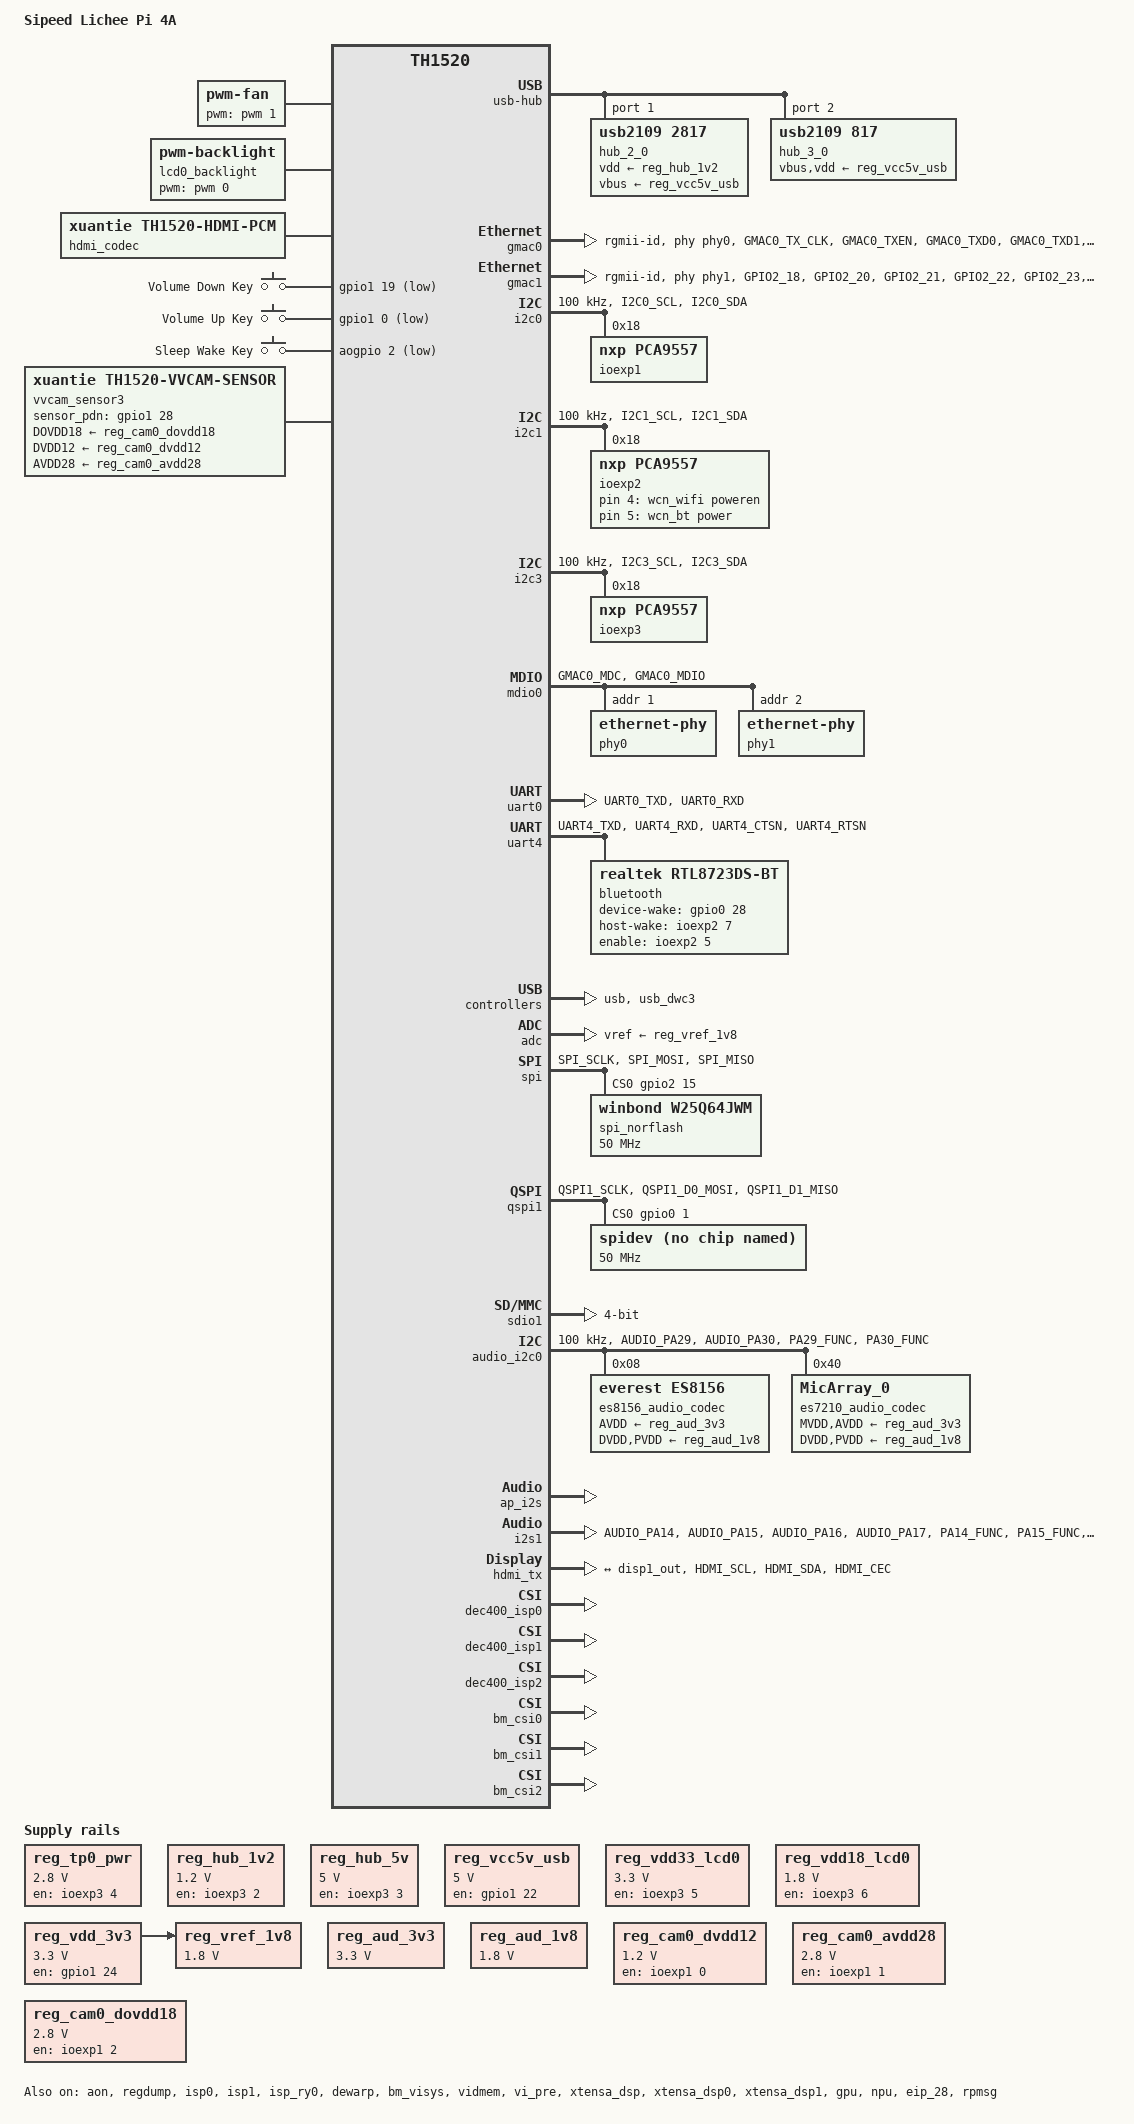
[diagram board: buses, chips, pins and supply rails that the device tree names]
// SPDX-License-Identifier: (GPL-2.0 OR MIT)
/*
 * Copyright (C) 2023 Jisheng Zhang <jszhang@kernel.org>
 */

#include "th1520-lichee-module-4a.dtsi"
#include <dt-bindings/gpio/gpio.h>
#include <dt-bindings/input/linux-event-codes.h>

/ {
	model = "Sipeed Lichee Pi 4A";
	compatible = "sipeed,lichee-pi-4a", "sipeed,lichee-module-4a", "thead,th1520";

	aliases {
		vivcam3 = &vvcam_sensor3;
		viv_video2 =  &video2;
		viv_video3 =  &video3;
	};

	chosen {
		stdout-path = "serial0:115200n8";
	};

	fan: pwm-fan {
		pinctrl-names = "default";
		pinctrl-0 = <&fan_pins>;
		compatible = "pwm-fan";
		#cooling-cells = <2>;
		pwms = <&pwm 1 10000000 0>;
		cooling-levels = <0 66 196 255>;
	};

	lcd0_backlight: pwm-backlight@0 {
		compatible = "pwm-backlight";
		pwms = <&pwm 0 5000000 0>;
		brightness-levels = <0 4 8 16 32 64 128 255>;
		default-brightness-level = <7>;
	};

	th1520_iopmp: iopmp {
		compatible = "xuantie,th1520-iopmp";

		/* config#1: multiple valid regions */
		iopmp_emmc: IOPMP_EMMC {
			attr = <0xFFFFFFFF>;
			is_default_region;
		};

		/* config#2: iopmp bypass */
		iopmp_sdio0: IOPMP_SDIO0 {
			bypass_en;
		};

		/* config#3: iopmp default region set */
		iopmp_sdio1: IOPMP_SDIO1 {
			attr = <0xFFFFFFFF>;
			is_default_region;
		};

		iopmp_usb0: IOPMP_USB0 {
			attr = <0xFFFFFFFF>;
			is_default_region;
		};

		iopmp_ao: IOPMP_AO {
			is_default_region;
		};

		iopmp_aud: IOPMP_AUD {
			is_default_region;
		};

		iopmp_chip_dbg: IOPMP_CHIP_DBG {
			is_default_region;
		};

		iopmp_eip120i: IOPMP_EIP120I {
			is_default_region;
		};

		iopmp_eip120ii: IOPMP_EIP120II {
			is_default_region;
		};

		iopmp_eip120iii: IOPMP_EIP120III {
			is_default_region;
		};

		iopmp_isp0: IOPMP_ISP0 {
			is_default_region;
		};

		iopmp_isp1: IOPMP_ISP1 {
			is_default_region;
		};

		iopmp_dw200: IOPMP_DW200 {
			is_default_region;
		};

		iopmp_vipre: IOPMP_VIPRE {
			is_default_region;
		};

		iopmp_venc: IOPMP_VENC {
			is_default_region;
		};

		iopmp_vdec: IOPMP_VDEC {
			is_default_region;
		};

		iopmp_g2d: IOPMP_G2D {
			is_default_region;
		};

		iopmp_fce: IOPMP_FCE {
			is_default_region;
		};

		iopmp_npu: IOPMP_NPU {
			is_default_region;
		};

		iopmp0_dpu: IOPMP0_DPU {
			bypass_en;
		};

		iopmp1_dpu: IOPMP1_DPU {
			bypass_en;
		};

		iopmp_gpu: IOPMP_GPU {
			is_default_region;
		};

		iopmp_gmac1: IOPMP_GMAC1 {
			is_default_region;
		};

		iopmp_gmac2: IOPMP_GMAC2 {
			is_default_region;
		};

		iopmp_dmac: IOPMP_DMAC {
			is_default_region;
		};

		iopmp_tee_dmac: IOPMP_TEE_DMAC {
			is_default_region;
		};

		iopmp_dsp0: IOPMP_DSP0 {
			is_default_region;
		};

		iopmp_dsp1: IOPMP_DSP1 {
			is_default_region;
		};

		iopmp_audio0: IOPMP_AUDIO0 {
			is_default_region;
		};

		iopmp_audio1: IOPMP_AUDIO1 {
			is_default_region;
		};
	};

	reg_tp0_pwr: regulator-tp0-pwr {
		compatible = "regulator-fixed";
		regulator-name = "tp0-pwr";
		regulator-min-microvolt = <2800000>;
		regulator-max-microvolt = <2800000>;
		gpio = <&ioexp3 4 GPIO_ACTIVE_HIGH>;
		enable-active-high;
		regulator-always-on;
	};

	reg_hub_1v2: regulator-hub-1v2 {
		compatible = "regulator-fixed";
		regulator-name = "HUB_1V2";
		regulator-min-microvolt = <1200000>;
		regulator-max-microvolt = <1200000>;
		gpio = <&ioexp3 2 GPIO_ACTIVE_HIGH>;
		enable-active-high;
		regulator-always-on;
	};

	reg_hub_5v: regulator-hub-5v {
		compatible = "regulator-fixed";
		regulator-name = "HUB_5V";
		regulator-min-microvolt = <5000000>;
		regulator-max-microvolt = <5000000>;
		gpio = <&ioexp3 3 GPIO_ACTIVE_HIGH>;
		enable-active-high;
		regulator-always-on;
	};

	reg_vcc5v_usb: regulator-vcc5v-usb {
		compatible = "regulator-fixed";
		regulator-name = "VCC5V_USB";
		regulator-min-microvolt = <5000000>;
		regulator-max-microvolt = <5000000>;
		gpio = <&gpio1 22 GPIO_ACTIVE_HIGH>;
		enable-active-high;
		regulator-always-on;
	};

	reg_vdd33_lcd0: regulator-vdd33-lcd0 {
		compatible = "regulator-fixed";
		regulator-name = "lcd0_vdd33";
		regulator-min-microvolt = <3300000>;
		regulator-max-microvolt = <3300000>;
		gpio = <&ioexp3 5 GPIO_ACTIVE_HIGH>;
		enable-active-high;
	};

	reg_vdd18_lcd0: regulator-vdd18-lcd0 {
		compatible = "regulator-fixed";
		regulator-name = "lcd0_vdd18";
		regulator-min-microvolt = <1800000>;
		regulator-max-microvolt = <1800000>;
		gpio = <&ioexp3 6 GPIO_ACTIVE_HIGH>;
		enable-active-high;
	};

	reg_vdd_3v3: regulator-vdd-3v3 {
		compatible = "regulator-fixed";
		regulator-name = "vdd_3v3";
		regulator-min-microvolt = <3300000>;
		regulator-max-microvolt = <3300000>;
		gpio = <&gpio1 24 GPIO_ACTIVE_HIGH>;
		enable-active-high;
		regulator-boot-on;
		regulator-always-on;
	};

	reg_vref_1v8: regulator-adc-verf {
		compatible = "regulator-fixed";
		regulator-name = "vref-1v8";
		regulator-min-microvolt = <1800000>;
		regulator-max-microvolt = <1800000>;
		regulator-alaways-on;
		vin-supply = <&reg_vdd_3v3>;
	};

	reg_aud_3v3: regulator-aud-3v3 {
		compatible = "regulator-fixed";
		regulator-name = "aud_3v3";
		regulator-min-microvolt = <3300000>;
		regulator-max-microvolt = <3300000>;
		enable-active-high;
		regulator-always-on;
	};

	reg_aud_1v8: regulator-aud-1v8 {
		compatible = "regulator-fixed";
		regulator-name = "aud_1v8";
		regulator-min-microvolt = <1800000>;
		regulator-max-microvolt = <1800000>;
		enable-active-high;
		regulator-always-on;
	};

	reg_cam0_dvdd12: regulator-cam0-dvdd12 {
		compatible = "regulator-fixed";
		regulator-name = "dvdd12_cam0";
		regulator-min-microvolt = <1200000>;
		regulator-max-microvolt = <1200000>;
		gpio = <&ioexp1 0 GPIO_ACTIVE_HIGH>;
		enable-active-high;
	};

	reg_cam0_avdd28: regulator-cam0-avdd28 {
		compatible = "regulator-fixed";
		regulator-name = "avdd28_cam0";
		regulator-min-microvolt = <2800000>;
		regulator-max-microvolt = <2800000>;
		gpio = <&ioexp1 1 GPIO_ACTIVE_HIGH>;
		enable-active-high;
	};

	reg_cam0_dovdd18: regulator-cam0-dovdd18 {
		compatible = "regulator-fixed";
		regulator-name = "dovdd18_cam0";
		regulator-min-microvolt = <2800000>;
		regulator-max-microvolt = <2800000>;
		gpio = <&ioexp1 2 GPIO_ACTIVE_HIGH>;
		enable-active-high;
	};

	mbox_910t_client2: mbox_910t_client2 {
		compatible = "xuantie,th1520-mbox-client";
		mbox-names = "906";
		mboxes = <&mbox_910t 2 0>;
		audio-mbox-regmap = <&audio_mbox>;
		status = "okay";
	};

	th1520_rpmsg: th1520_rpmsg {
		compatible = "th1520,rpmsg-bus", "simple-bus";
		memory-region = <&rpmsgmem>;
		#address-cells = <2>;
		#size-cells = <2>;
		ranges;
		rpmsg: rpmsg{
			vdev-nums = <1>;
            reg = <0x0 0x1E000000 0 0x10000>;
			compatible = "th1520,th1520-rpmsg";
			log-memory-region = <&audio_log_mem>;
			audio-text-memory-region = <&audio_text_mem>;
			status = "okay";
		};
	};

	hdmi_codec: hdmi_codec@1 {
		#sound-dai-cells = <0>;
		compatible = "xuantie,th1520-hdmi-pcm";
		status = "okay";
		sound-name-prefix = "DUMMY";
	};

	th1520_sound: soundcard@1 {
		compatible = "simple-audio-card";
		simple-audio-card,name = "TH1520-Sound-Card";
		#address-cells = <1>;
		#size-cells = <0>;

		simple-audio-card,dai-link@0 {
			reg = <0>;
			format = "i2s";
			cpu {
				sound-dai = <&ap_i2s 1>;
			};
			codec {
				sound-dai = <&hdmi_codec>;
			};
		};
		simple-audio-card,dai-link@1 {
			reg = <1>;
			format = "i2s";
			cpu {
				sound-dai = <&i2s1 0>;
			};
			codec {
				sound-dai = <&es7210_audio_codec>;
			};
		};
		simple-audio-card,dai-link@2 {
			reg = <2>;
			format = "i2s";
			cpu {
				sound-dai = <&i2s1 0>;
			};
			codec {
				sound-dai = <&es8156_audio_codec>;
			};
		};
	};

	usb-hub {
		status = "okay";
		#address-cells = <1>;
		#size-cells = <0>;

		hub_2_0: hub@1 {
			compatible = "usb2109,2817";
			reg = <1>;
			peer-hub = <&hub_3_0>;
			vdd-supply = <&reg_hub_1v2>;
			vbus-supply = <&reg_vcc5v_usb>;
		};

		hub_3_0: hub@2 {
			compatible = "usb2109,817";
			reg = <2>;
			peer-hub = <&hub_2_0>;
			vbus-supply = <&reg_vcc5v_usb>;
			vdd-supply  = <&reg_vcc5v_usb>;
		};
	};

	wcn_wifi: wireless-wlan {
		compatible = "wlan-platdata";
		pinctrl-names = "default";
		pinctrl-0 = <&pinctrl_wifi_wake>;
		WIFI,poweren-gpios = <&ioexp2 4 0>;
		power_on_after_init;
		power_on_when_resume;
		status = "okay";
	};

	wcn_bt: wireless-bluetooth {
		compatible = "bluetooth-platdata";
		pinctrl-names = "default";
		pinctrl-0 = <&pinctrl_bt_wake>;
		BT,power-gpios    = <&ioexp2 5 0>;
		status = "okay";
	};

	gpio-keys {
		compatible = "gpio-keys";
		key-volumedown {
			label = "Volume Down Key";
			linux,code = <KEY_VOLUMEDOWN>;
			debounce-interval = <1>;
			gpios = <&gpio1 19 GPIO_ACTIVE_LOW>;
		};
		key-volumeup {
			label = "Volume Up Key";
			linux,code = <KEY_VOLUMEUP>;
			debounce-interval = <1>;
			gpios = <&gpio1 0 GPIO_ACTIVE_LOW>;
		};
		key-sleep {
			label = "Sleep Wake Key";
			wakeup-source;
			linux,code = <KEY_SLEEP>;
			debounce-interval = <1>;
			gpios = <&aogpio 2 GPIO_ACTIVE_LOW>;
		};
	};

	thermal-zones {
		cpu-thermal {
			sustainable-power = <1600>;

			trips {
				trip_active0: active-0 {
					temperature = <39000>;
					hysteresis = <5000>;
					type = "active";
				};

				trip_active1: active-1 {
					temperature = <50000>;
					hysteresis = <5000>;
					type = "active";
				};

				trip_active2: active-2 {
					temperature = <60000>;
					hysteresis = <5000>;
					type = "active";
				};
			};

			cooling-maps {
				map-active-0 {
					cooling-device = <&fan 1 1>;
					trip = <&trip_active0>;
				};

				map-active-1 {
					cooling-device = <&fan 2 2>;
					trip = <&trip_active1>;
				};

				map-active-2 {
					cooling-device = <&fan 3 3>;
					trip = <&trip_active2>;
				};
			};
		};

		dev-thermal {
			sustainable-power = <3000>;
		};
	};

	soc {
		compatible = "simple-bus";
		interrupt-parent = <&plic>;
		#address-cells = <2>;
		#size-cells = <2>;
		dma-noncoherent;
		ranges;


		vvcam_sensor3: vvcam_sensor@3 {//cam3 csi0 modified
			sensor_name = "OV5693";
			compatible = "xuantie,th1520-vvcam-sensor";
			sensor_pdn = <&gpio1 28 0>; //powerdown pin / shutdown pin
			sensor_rst = <&ioexp2 1 0>;
			sensor_pdn_delay_us = <4000>; //powerdown pin / shutdown pin activated till I2C ready
			sensor_regulators = "DOVDD18", "DVDD12", "AVDD28";
			sensor_regulator_timing_us = <70 50 20>;
			DOVDD18-supply = <&reg_cam0_dovdd18>;
			DVDD12-supply = <&reg_cam0_dvdd12>;
			AVDD28-supply = <&reg_cam0_avdd28>;
			i2c_reg_width = /bits/ 8 <2>;
			i2c_data_width = /bits/ 8 <1>;
			i2c_addr = /bits/ 8 <0x36>;
			i2c_bus = /bits/ 8 <0>;
			status = "okay";
		};

		video2: cam_dev@300 {
			compatible = "xuantie,th1520-video";
			vi_mem_pool_region = <0>;	// vi_mem: framebuffer, region[0]
			status = "okay";
			channel0 {
				channel_id = <0>;
				status = "okay";
				sensor1 {
					subdev_name = "vivcam";
					idx = <3>;
					csi_idx = <0>;
					mode_idx = <1>;
					path_type = "SENSOR_2592x1944_LINER";
				};
				dma {
					subdev_name = "vipre";
					idx = <0>;
					path_type = "VIPRE_CSI0_ISP1";
				};
				isp {
					subdev_name = "isp";
					idx = <1>;
					path_type = "ISP_MI_PATH_MP";
					output {
						max_width = <2600>;
						max_height = <2000>;
						bit_per_pixel = <12>;
						frame_count = <3>;
					};
				};
			};
			channel1 {
				sensor1 {
					subdev_name = "vivcam";
					idx = <3>;
					csi_idx = <0>;
					mode_idx = <1>;
					path_type = "SENSOR_2592x1944_LINER";
				};
				dma {
					subdev_name = "vipre";
					idx = <0>;
					path_type = "VIPRE_CSI0_ISP1";
				};
				isp {
					subdev_name = "isp";
					idx = <1>;
					path_type = "ISP_MI_PATH_SP";
					output {
						max_width = <2600>;
						max_height = <2000>;
						bit_per_pixel = <12>;
						frame_count = <3>;
					};
				};
			};
			channel2 {
				sensor1 {
					subdev_name = "vivcam";
					idx = <3>;
					csi_idx = <0>;
					mode_idx = <1>;
					path_type = "SENSOR_2592x1944_LINER";
				};
				dma {
					subdev_name = "vipre";
					idx = <0>;
					path_type = "VIPRE_CSI0_ISP1";
				};
				isp {
					subdev_name = "isp";
					idx = <1>;
					path_type = "ISP_MI_PATH_SP2_BP";
					output {
						max_width = <2600>;
						max_height = <2000>;
						bit_per_pixel = <12>;
						frame_count = <3>;
					};
				};
			};
		};

		video3: cam_dev@400{
			compatible = "xuantie,th1520-video";
			vi_mem_pool_region = <0>;	// vi_mem: framebuffer, region[0]
			status = "okay";
			channel0 {
				sensor1 {
					subdev_name = "vivcam";
					idx = <3>;
					csi_idx = <0>;
					mode_idx = <1>;
					path_type = "SENSOR_2592x1944_LINER";
				};
				dma {
					subdev_name = "vipre";
					idx = <0>;
					path_type = "VIPRE_CSI0_ISP1";

				};
				isp {
					subdev_name = "isp";
					idx = <1>;
					path_type = "ISP_MI_PATH_MP";
					output {
						max_width = <2600>;
						max_height = <2000>;
						bit_per_pixel = <12>;
						frame_count = <3>;
					};
				};
				dw {
					subdev_name = "dw";
					idx = <0>;
					path_type = "DW_DWE_VSE0";
					dw_dst_depth = <2>;
				};
			};
			channel1 {
				sensor1 {
					subdev_name = "vivcam";
					idx = <3>;
					csi_idx = <0>;
					mode_idx = <1>;
					path_type = "SENSOR_2592x1944_LINER";
				};
				dma {
					subdev_name = "vipre";
					idx = <0>;
					path_type = "VIPRE_CSI0_ISP1";

				};
				isp {
					subdev_name = "isp";
					idx = <1>;
					path_type = "ISP_MI_PATH_MP";
					output {
						max_width = <2600>;
						max_height = <2000>;
						bit_per_pixel = <12>;
						frame_count = <3>;
					};
				};
				dw {
					subdev_name = "dw";
					idx = <0>;
					path_type = "DW_DWE_VSE1";
					dw_dst_depth = <2>;
				};
			};
			channel2 {
				sensor1 {
					subdev_name = "vivcam";
					idx = <3>;
					csi_idx = <0>;
					mode_idx = <1>;
					path_type = "SENSOR_2592x1944_LINER";
				};
				dma {
					subdev_name = "vipre";
					idx = <0>;
					path_type = "VIPRE_CSI0_ISP1";

				};
				isp {
					subdev_name = "isp";
					idx = <1>;
					path_type = "ISP_MI_PATH_MP";
					output {
						max_width = <2600>;
						max_height = <2000>;
						bit_per_pixel = <12>;
						frame_count = <3>;
					};
				};
				dw {
					subdev_name = "dw";
					idx = <0>;
					path_type = "DW_DWE_VSE2";
					dw_dst_depth = <2>;
				};
			};
		};
	};

};

&gmac0 {
	pinctrl-names = "default";
	pinctrl-0 = <&gmac0_pins>;
	phy-handle = <&phy0>;
	phy-mode = "rgmii-id";
	status = "okay";
};

&gmac1 {
	pinctrl-names = "default";
	pinctrl-0 = <&gmac1_pins>;
	phy-handle = <&phy1>;
	phy-mode = "rgmii-id";
	status = "okay";
};

&i2c0 {
	pinctrl-names = "default";
	pinctrl-0 = <&i2c0_pins>;
	clock-frequency = <100000>;
	i2c-sda-hold-time-ns = <300>;
	i2c-sda-falling-time-ns = <510>;
	i2c-scl-falling-time-ns = <510>;
	status = "okay";

	ioexp1: gpio@18 {
		compatible = "nxp,pca9557";
		reg = <0x18>;
		gpio-controller;
		#gpio-cells = <2>;
		gpio-line-names = "cam0_dvdd12",
				  "cam0_avdd28",
				  "cam0_dovdd18";
	};
};

&i2c1 {
	pinctrl-names = "default";
	pinctrl-0 = <&i2c1_pins>;
	clock-frequency = <100000>;
	i2c-sda-hold-time-ns = <300>;
	i2c-sda-falling-time-ns = <510>;
	i2c-scl-falling-time-ns = <510>;
	status = "okay";

	ioexp2: gpio@18 {
		compatible = "nxp,pca9557";
		reg = <0x18>;
		gpio-controller;
		#gpio-cells = <2>;
		gpio-line-names = "",
				  "cam0_reset",
				  "cam1_reset",
				  "cam2_reset",
				  "wl_host_wake",
				  "bt_resetn",
				  "",
				  "bt_host_wake";
	};
};

&i2c3 {
	pinctrl-names = "default";
	pinctrl-0 = <&i2c3_pins>;
	clock-frequency = <100000>;
	i2c-sda-hold-time-ns = <300>;
	i2c-sda-falling-time-ns = <510>;
	i2c-scl-falling-time-ns = <510>;
	status = "okay";

	ioexp3: gpio@18 {
		compatible = "nxp,pca9557";
		reg = <0x18>;
		gpio-controller;
		#gpio-cells = <2>;
		gpio-line-names = "tp0_rst",
				  "",
				  "",
				  "vcc5v_usb",
				  "vdd28_tp0",
				  "vdd33_lcd0",
				  "vdd18_lcd0",
				  "lcd0_reset";
	};
};

&mdio0 {
	pinctrl-names = "default";
	pinctrl-0 = <&mdio0_pins>;

	phy0: ethernet-phy@1 {
		reg = <1>;
	};

	phy1: ethernet-phy@2 {
		reg = <2>;
	};
};

&padctrl0_apsys {
	fan_pins: fan-0 {
		pwm1-pins {
			pins = "GPIO3_3"; /* PWM1 */
			function = "pwm";
			bias-disable;
			drive-strength = <25>;
			input-disable;
			input-schmitt-disable;
			slew-rate = <0>;
		};
	};

	gmac0_pins: gmac0-0 {
		tx-pins {
			pins = "GMAC0_TX_CLK",
			       "GMAC0_TXEN",
			       "GMAC0_TXD0",
			       "GMAC0_TXD1",
			       "GMAC0_TXD2",
			       "GMAC0_TXD3";
			function = "gmac0";
			bias-disable;
			drive-strength = <25>;
			input-disable;
			input-schmitt-disable;
			slew-rate = <0>;
		};

		rx-pins {
			pins = "GMAC0_RX_CLK",
			       "GMAC0_RXDV",
			       "GMAC0_RXD0",
			       "GMAC0_RXD1",
			       "GMAC0_RXD2",
			       "GMAC0_RXD3";
			function = "gmac0";
			bias-disable;
			drive-strength = <1>;
			input-enable;
			input-schmitt-disable;
			slew-rate = <0>;
		};
	};

	gmac1_pins: gmac1-0 {
		tx-pins {
			pins = "GPIO2_18", /* GMAC1_TX_CLK */
			       "GPIO2_20", /* GMAC1_TXEN */
			       "GPIO2_21", /* GMAC1_TXD0 */
			       "GPIO2_22", /* GMAC1_TXD1 */
			       "GPIO2_23", /* GMAC1_TXD2 */
			       "GPIO2_24"; /* GMAC1_TXD3 */
			function = "gmac1";
			bias-disable;
			drive-strength = <25>;
			input-disable;
			input-schmitt-disable;
			slew-rate = <0>;
		};

		rx-pins {
			pins = "GPIO2_19", /* GMAC1_RX_CLK */
			       "GPIO2_25", /* GMAC1_RXDV */
			       "GPIO2_30", /* GMAC1_RXD0 */
			       "GPIO2_31", /* GMAC1_RXD1 */
			       "GPIO3_0",  /* GMAC1_RXD2 */
			       "GPIO3_1";  /* GMAC1_RXD3 */
			function = "gmac1";
			bias-disable;
			drive-strength = <1>;
			input-enable;
			input-schmitt-disable;
			slew-rate = <0>;
		};
	};

	i2c3_pins: i2c3-0 {
		i2c-pins {
			pins = "I2C3_SCL", "I2C3_SDA";
			function = "i2c";
			bias-disable;
			drive-strength = <7>;
			input-enable;
			input-schmitt-enable;
			slew-rate = <0>;
		};
	};

	mdio0_pins: mdio0-0 {
		mdc-pins {
			pins = "GMAC0_MDC";
			function = "gmac0";
			bias-disable;
			drive-strength = <13>;
			input-disable;
			input-schmitt-disable;
			slew-rate = <0>;
		};

		mdio-pins {
			pins = "GMAC0_MDIO";
			function = "gmac0";
			bias-disable;
			drive-strength = <13>;
			input-enable;
			input-schmitt-enable;
			slew-rate = <0>;
		};
	};

	uart0_pins: uart0-0 {
		tx-pins {
			pins = "UART0_TXD";
			function = "uart";
			bias-disable;
			drive-strength = <3>;
			input-disable;
			input-schmitt-disable;
			slew-rate = <0>;
		};

		rx-pins {
			pins = "UART0_RXD";
			function = "uart";
			bias-disable;
			drive-strength = <1>;
			input-enable;
			input-schmitt-enable;
			slew-rate = <0>;
		};
	};

	spi_pins: spi-0 {
		spi-pins {
			pins = "SPI_SCLK", "SPI_MOSI", "SPI_MISO";
			function = "spi";
			bias-disable;
			drive-strength = <7>;
			input-enable;
			input-schmitt-enable;
			slew-rate = <0>;
		};
	};

	hdmi_tx_pins: hdmi-tx-0 {
		hdmi-pins {
			pins = "HDMI_SCL", "HDMI_SDA", "HDMI_CEC";
			function = "hdmi";
			bias-disable;
			drive-strength = <3>;
			input-enable;
			input-schmitt-disable;
			slew-rate = <0>;
		};
	};
};

&padctrl1_apsys {
	i2c0_pins: i2c0-0 {
		i2c-pins {
			pins = "I2C0_SCL", "I2C0_SDA";
			function = "i2c";
			bias-disable;
			drive-strength = <7>;
			input-enable;
			input-schmitt-enable;
			slew-rate = <0>;
		};
	};

	i2c1_pins: i2c1-0 {
		i2c-pins {
			pins = "I2C1_SCL", "I2C1_SDA";
			function = "i2c";
			bias-disable;
			drive-strength = <7>;
			input-enable;
			input-schmitt-enable;
			slew-rate = <0>;
		};
	};

	qspi1_pins: qspi1-0 {
		qspi-pins {
			pins = "QSPI1_SCLK", "QSPI1_D0_MOSI", "QSPI1_D1_MISO";
			function = "qspi";
			bias-disable;
			drive-strength = <7>;
			input-enable;
			input-schmitt-enable;
			slew-rate = <0>;
		};
	};

	uart4_pins: uart4-0 {
		tx-pins {
			pins = "UART4_TXD";
			function = "uart";
			bias-disable;
			drive-strength = <3>;
			input-disable;
			input-schmitt-disable;
			slew-rate = <0>;
		};

		rx-pins {
			pins = "UART4_RXD";
			function = "uart";
			bias-disable;
			drive-strength = <1>;
			input-enable;
			input-schmitt-enable;
			slew-rate = <0>;
		};

		ctrl-pins {
			pins = "UART4_CTSN", "UART4_RTSN";
			function = "uart";
			bias-disable;
			drive-strength = <3>;
			input-enable;
			input-schmitt-disable;
			slew-rate = <0>;
		};
	};

	pinctrl_wifi_wake: wifi_grp {
		wifi-pins {
			pins = "GPIO0_27";
			function = "gpio";
			bias-disable;
			drive-strength = <7>;
			input-disable;
			input-schmitt-disable;
			slew-rate = <0>;
		};
	};

	pinctrl_bt_wake: bt_grp {
		bt-pins {
			pins = "GPIO0_28";
			function = "gpio";
			bias-disable;
			drive-strength = <7>;
			input-disable;
			input-schmitt-disable;
			slew-rate = <0>;
		};
	};
};

&padctrl_aosys {
	i2s1_pa_pins: i2s1-pa-0 {
		i2s-pa-pins {
			pins = "AUDIO_PA14", "AUDIO_PA15", "AUDIO_PA16", "AUDIO_PA17";
			function = "audio";
			bias-disable;
			drive-strength = <0>;
			slew-rate = <0>;
		};
	};
	aud_i2c0_pa_pins: aud-i2c0-pa-0 {
		aud-i2c-pa-pins {
			pins = "AUDIO_PA29", "AUDIO_PA30";
			function = "audio";
			bias-disable;
			drive-strength = <0>;
			slew-rate = <0>;
		};
	};
};

&padctrl_audiosys {
	aud_i2c0_pins: aud-i2c0-0 {
		i2c-pins {
			pins = "PA29_FUNC", "PA30_FUNC";
			function = "aud_i2c0";
			bias-disable;
			drive-strength = <7>;
			input-schmitt-disable;
			slew-rate = <0>;
		};
	};
	i2s1_pins: i2s1-0 {
		i2s-pins {
			pins = "PA14_FUNC", "PA15_FUNC", "PA16_FUNC", "PA17_FUNC";
			function = "aud_i2s1";
			bias-disable;
			drive-strength = <13>;
			input-schmitt-disable;
			slew-rate = <0>;
		};
	};
};

&uart0 {
	pinctrl-names = "default";
	pinctrl-0 = <&uart0_pins>;
	status = "okay";
};

&uart4 {
	pinctrl-names = "default";
	pinctrl-0 = <&uart4_pins>;
	status = "okay";
	uart-has-rtscts;

	bluetooth {
		compatible = "realtek,rtl8723ds-bt";
		device-wake-gpios = <&gpio0 28 GPIO_ACTIVE_HIGH>; /* GPIO02 */
		host-wake-gpios = <&ioexp2 7 GPIO_ACTIVE_HIGH>;
		enable-gpios = <&ioexp2 5 GPIO_ACTIVE_HIGH>;
	};
};

&usb {
	status = "okay";
	hubswitch-gpio = <&aogpio 4 0>;
};

&usb_dwc3 {
	status = "okay";
	#address-cells = <1>;
	#size-cells = <0>;
};

&adc {
	vref-supply = <&reg_vref_1v8>;
	#io-channel-cells = <1>;
	status = "okay";
};

&spi {
	num-cs = <1>;
	cs-gpios = <&gpio2 15 0>;
	rx-sample-delay-ns = <10>;
	pinctrl-names = "default";
	pinctrl-0 = <&spi_pins>;
	status = "okay";

	spi_norflash@0 {
		status = "okay";
		#address-cells = <1>;
		#size-cells = <1>;
		compatible = "winbond,w25q64jwm", "jedec,spi-nor";
		reg = <0>;
		spi-max-frequency = <50000000>;
		w25q,fast-read;
	};
};

&qspi1 {
	// use one-line mode
	compatible = "snps,dw-apb-ssi";
	num-cs = <1>;
	cs-gpios = <&gpio0 1 0>;
	pinctrl-names = "default";
	pinctrl-0 = <&qspi1_pins>;
	status = "okay";

	spidev@0 {
		compatible = "spidev";
		#address-cells = <0x1>;
		#size-cells = <0x1>;
		reg = <0x0>;
		spi-max-frequency = <50000000>;
	};
};

&sdio0 {
       max-frequency = <100000000>;
};

&sdio1 {
		max-frequency = <100000000>;
		bus-width = <4>;
		pull_up;
		no-sd;
		no-mmc;
		broken-cd;
		io_fixed_1v8;
		post-power-on-delay-ms = <50>;
		wprtn_ignore;
		cap-sd-highspeed;
		wakeup-source;
		keep-power-in-suspend;
		status = "okay";
};

&aon {
    log-memory-region = <&aon_log_mem>;
	status = "okay";
};

&resmem {
	#address-cells = <2>;
	#size-cells = <2>;
	ranges;

	/* global autoconfigured region for contiguous allocations */
	cmamem: linux,cma {
		compatible = "shared-dma-pool";
		reusable;
		size = <0 0x30000000>; // 768MB on lpi4a (SOM)
		alloc-ranges = <0 0xc8000000 0 0x30000000>; // [0x0C800_0000 ~ 0x0F800_0000]    linux,cma-default;
		linux,cma-default;
	};
	dsp0_mem: memory@20000000 {             /**0x2000_0000~0x2040_0000 4M**/
		reg = <0x0 0x20000000 0x0 0x00280000   /* DSP FW code&data section 2.5M*/
			0x0 0x20280000 0x0 0x00001000   /* DSP communication area 4K*/
			0x0 0x20281000 0x0 0x00007000  /* Panic/log page 28K */
			0x0 0x20288000 0x0 0x00178000>;  /* DSP shared memory 1.5M-32K*/
		};
	dsp1_mem: memory@20400000 {             /**0x2040_0000~0x2080_0000 4M**/
		reg = <0x0 0x20400000 0x0 0x00280000  /* DSP FW code&data section */
			0x0 0x20680000 0x0 0x00001000 /* DSP communication area */
			0x0 0x20681000 0x0 0x00007000    /* Panic/log page*/
			0x0 0x20688000 0x0 0x00178000>;  /* DSP shared memory */
		};
	vi_mem: framebuffer@10000000 {
		reg = <0x0 0x10000000 0x0 0x6700000>;	/* vi_mem_pool_region[0]  44 MB (default) */
			//0x0 0x12C00000 0x0 0x01D00000	/* vi_mem_pool_region[1]  29 MB */
			//0x0 0x14900000 0x0 0x01E00000>;	/* vi_mem_pool_region[2]  30 MB */
		};

	audio_text_mem: memory@32000000 {
		reg = <0x0 0x32000000 0x0 0xE00000>;
		//no-map;
	};
	audio_data_mem: memory@32E00000 {
		reg = <0x0 0x32E00000 0x0 0x600000>;
		//no-map;
	};
	audio_log_mem: memory@33400000 {
        reg = <0x0 0x33400000 0x0 0x200000>;
	};
	//Note: with "no-map" reserv mem not saved in hibernation
	rpmsgmem: memory@1E000000 {
		reg = <0x0 0x1E000000 0x0 0x10000>;
	};
	aon_log_mem: memory@33600000 {
        reg = <0x0 0x33600000 0x0 0x200000>;
	};
	regdump_mem: memory@38400000 {
		reg = <0x0 0x38400000 0x0 0x1400000>;
		no-map;
	};
};

&regdump {
	memory-region = <&regdump_mem>;
	status = "okay";
};

&audio_i2c0 {
	clock-frequency = <100000>;
	status = "okay";
	pinctrl-names = "default";
	pinctrl-0 = <&aud_i2c0_pa_pins>,
				<&aud_i2c0_pins>;

	es8156_audio_codec: es8156@8 {
		#sound-dai-cells = <0>;
		compatible = "everest,es8156";
		reg = <0x08>;
		sound-name-prefix = "ES8156";
		AVDD-supply = <&reg_aud_3v3>;
		DVDD-supply = <&reg_aud_1v8>;
		PVDD-supply = <&reg_aud_1v8>;
	};

	es7210_audio_codec: es7210@40 {
		#sound-dai-cells = <0>;
		compatible = "MicArray_0";
		reg = <0x40>;
		sound-name-prefix = "ES7210";
		MVDD-supply = <&reg_aud_3v3>;
		AVDD-supply = <&reg_aud_3v3>;
		DVDD-supply = <&reg_aud_1v8>;
		PVDD-supply = <&reg_aud_1v8>;
	};
};

&ap_i2s {
	status = "okay";
};

&i2s1 {
	status = "okay";
	pinctrl-names = "default";
	pinctrl-0 = <&i2s1_pa_pins>, <&i2s1_pins>;
};

&dpu_enc1 {
	ports {
		/delete-node/ port@0;
	};
};

&disp1_out {
	remote-endpoint = <&hdmi_tx_in>;
};

&hdmi_tx {
	status = "okay";

	port@0 {
		/* input */
		hdmi_tx_in: endpoint {
			remote-endpoint = <&disp1_out>;
		};
	};
};

&isp0 {
	status = "okay";
};

&isp1 {
	status = "okay";
};

&isp_ry0 {
	status = "okay";
};

&dewarp {
	status = "okay";
};

&dec400_isp0 {
	status = "okay";
};

&dec400_isp1 {
	status = "okay";
};

&dec400_isp2 {
	status = "okay";
};

&bm_visys {
	status = "okay";
};

&bm_csi0 {
	status = "okay";
};

&bm_csi1 {
	status = "okay";
};

&bm_csi2 {
	status = "okay";
};

&vidmem {
	status = "okay";
	memory-region = <&vi_mem>;
};

&vi_pre {
	status = "okay";
};
&xtensa_dsp {
	status = "okay";
};

&xtensa_dsp0 {
	status = "okay";
	memory-region = <&dsp0_mem>;
};

&xtensa_dsp1 {
	status = "okay";
	memory-region = <&dsp1_mem>;
};

&gpu {
	status = "okay";
};

&npu {
	vha_clk_rate = <1000000000>;
	status = "okay";
};

&npu_opp_table {
	opp-1000000000 {
		opp-suspend;
	};
};

&dpu_enc1 {
	ports {
		/delete-node/ port@0;
	};
};

&disp1_out {
	remote-endpoint = <&hdmi_tx_in>;
};

&hdmi_tx {
	status = "okay";
	pinctrl-names = "default";
	pinctrl-0 = <&hdmi_tx_pins>;

	port@0 {
		/* input */
		hdmi_tx_in: endpoint {
			remote-endpoint = <&disp1_out>;
		};
	};
};

&eip_28 {
	status = "okay";
};
